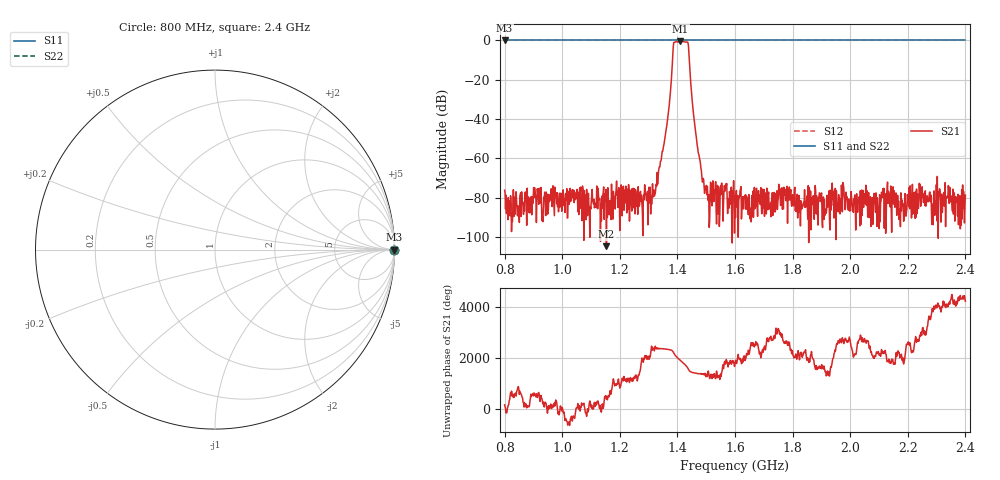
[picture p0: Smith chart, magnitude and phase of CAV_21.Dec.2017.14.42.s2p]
!Keysight Technologies N9923A: A.08.18
!Date: Thursday, 21 December 2017 14:42:21
!Timezone: (GMT-05:00) Eastern Time (US & Canada)
!Model: N9923A
!Serial: MY52412517
!GPS Latitude:
!GPS Longitude:
!GPS TimeStamp: 0001-01-01 00:00:00Z
!GPS Seconds Since Last Read: 0
!CHECKSUM:2135517836
!Correction: S11()S21(ON Q)S12()S22()
!S2P File: Measurements:S11,S21,S12,S22:
# Hz S DB R 50
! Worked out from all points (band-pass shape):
!   1001 points, 800 MHz to 2.4 GHz, reference 50 ohm
!   highest |S21| = -0.51 dB at 1.41 GHz (marker M1); lowest = -104.7 dB at 1.154 GHz (marker M2)
!   |S21| within 3 dB of the highest: 1.385 GHz to 1.439 GHz (53.27 MHz wide, 3.77 % of centre)
!   lowest |S11| = 0.0 dB at 800 MHz (marker M3)
!   |S11| at or under -10 dB: nowhere
!   |S22| runs from 0.0 to 0.0 dB; largest |S21 - S12| = 1.9
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8e8  0.00 0.0  -76.18 148.0  0.00 0.0  0.00 0.0
1.0672e9  0.00 0.0  -79.82 -136.9  0.00 0.0  0.00 0.0
1.1536e9  0.00 0.0  -104.67 9.7  0.00 0.0  0.00 0.0
1.3152e9  0.00 0.0  -79.70 -126.3  0.00 0.0  0.00 0.0
1.3344e9  0.00 0.0  -66.66 -130.4  0.00 0.0  0.00 0.0
1.3632e9  0.00 0.0  -43.32 -173.4  0.00 0.0  0.00 0.0
1.3808e9  0.00 0.0  -15.89 137.2  0.00 0.0  0.00 0.0
1.3888e9  0.00 0.0  -0.91 -1.8  0.00 0.0  0.00 0.0
1.3968e9  0.00 0.0  -0.60 -111.6  0.00 0.0  0.00 0.0
1.4032e9  0.00 0.0  -0.73 179.1  0.00 0.0  0.00 0.0
1.4096e9  0.00 0.0  -0.51 113.1  0.00 0.0  0.00 0.0
1.4144e9  0.00 0.0  -0.54 64.5  0.00 0.0  0.00 0.0
1.4208e9  0.00 0.0  -0.62 -2.0  0.00 0.0  0.00 0.0
1.4272e9  0.00 0.0  -0.77 -71.9  0.00 0.0  0.00 0.0
1.4352e9  0.00 0.0  -0.83 178.3  0.00 0.0  0.00 0.0
1.4432e9  0.00 0.0  -14.53 34.2  0.00 0.0  0.00 0.0
1.464e9  0.00 0.0  -47.45 -39.9  0.00 0.0  0.00 0.0
1.4944e9  0.00 0.0  -77.80 -110.1  0.00 0.0  0.00 0.0
1.6e9  0.00 0.0  -79.02 -7.5  0.00 0.0  0.00 0.0
1.8672e9  0.00 0.0  -80.80 -79.3  0.00 0.0  0.00 0.0
2.1344e9  0.00 0.0  -77.98 155.0  0.00 0.0  0.00 0.0
2.4e9  0.00 0.0  -78.68 -77.4  0.00 0.0  0.00 0.0
